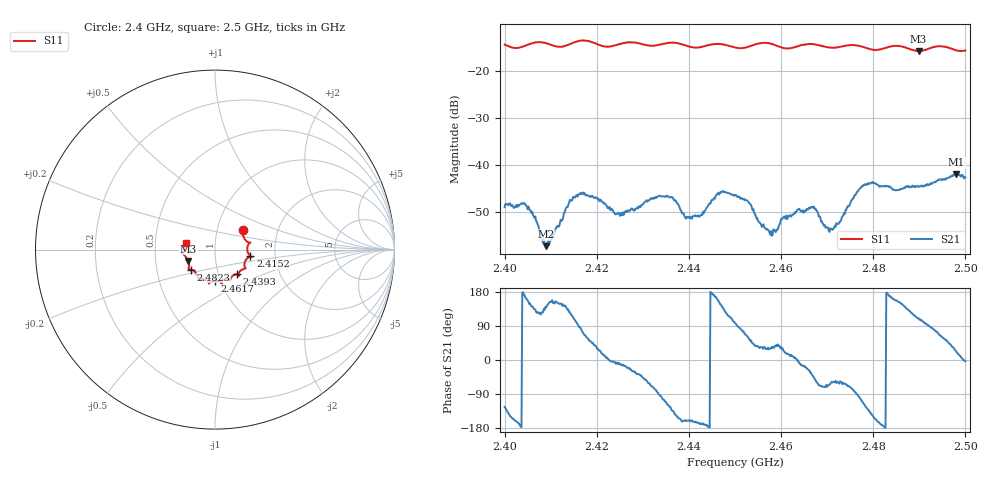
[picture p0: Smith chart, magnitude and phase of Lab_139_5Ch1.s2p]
# Hz S RI R 50
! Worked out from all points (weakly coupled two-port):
!   601 points, 2.4 GHz to 2.5 GHz, reference 50 ohm
!   highest |S21| = -42.01 dB at 2.498 GHz (marker M1); lowest = -57.2 dB at 2.409 GHz (marker M2)
!   lowest |S11| = -15.8 dB at 2.4898 GHz (marker M3), VSWR 1.38, Z = 36.8 - j4.78 ohm
!   |S11| at or under -10 dB: start of sweep to end of sweep
!   S12 and S22 are empty: the file has one direction only
!   S11 on the Smith chart (normalised r, x): 2.4 GHz: 1.33, +0.30; 2.4152 GHz: 1.49, -0.11; 2.4393 GHz: 1.22, -0.35; 2.4617 GHz: 0.94, -0.33; 2.4823 GHz: 0.75, -0.17; 2.5 GHz: 0.72, +0.05
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2.4e9  0.1551 0.1089  -0.00197 -0.00297  0 0  0 0
2.404667e9  0.1807 0.0426  -0.00351 0.00108  0 0  0 0
2.409e9  0.1929 0.0368  -0.00103 0.000911  0 0  0 0
2.415167e9  0.197 -0.0367  -0.00128 0.00432  0 0  0 0
2.416667e9  0.2047 -0.0421  0.000862 0.00481  0 0  0 0
2.4245e9  0.1647 -0.093  0.00303 -0.00037  0 0  0 0
2.433333e9  0.132 -0.1339  0.00016 -0.00466  0 0  0 0
2.436667e9  0.1342 -0.1461  -0.00309 -0.00302  0 0  0 0
2.439333e9  0.1228 -0.138  -0.00255 -0.000883  0 0  0 0
2.442667e9  0.0919 -0.1528  -0.0029 -0.000566  0 0  0 0
2.446833e9  0.0843 -0.1722  -0.00429 0.00288  0 0  0 0
2.45e9  0.0661 -0.1638  -0.000586 0.00468  0 0  0 0
2.457667e9  0.0386 -0.1905  0.00156 0.000932  0 0  0 0
2.461667e9  0.000355 -0.1723  0.0028 0.000727  0 0  0 0
2.466667e9  -0.0335 -0.1889  0.00281 -0.00219  0 0  0 0
2.470833e9  -0.0547 -0.1668  0.00104 -0.00179  0 0  0 0
2.4775e9  -0.097 -0.1521  -0.0018 -0.00564  0 0  0 0
2.482333e9  -0.1322 -0.1112  -0.00597 -0.000439  0 0  0 0
2.483333e9  -0.141 -0.1099  -0.00576 0.000899  0 0  0 0
2.489833e9  -0.1485 -0.0633  -0.00204 0.00559  0 0  0 0
2.498e9  -0.1647 0.0032  0.00731 0.00308  0 0  0 0
2.5e9  -0.16 0.0363  0.00734 -0.000432  0 0  0 0
